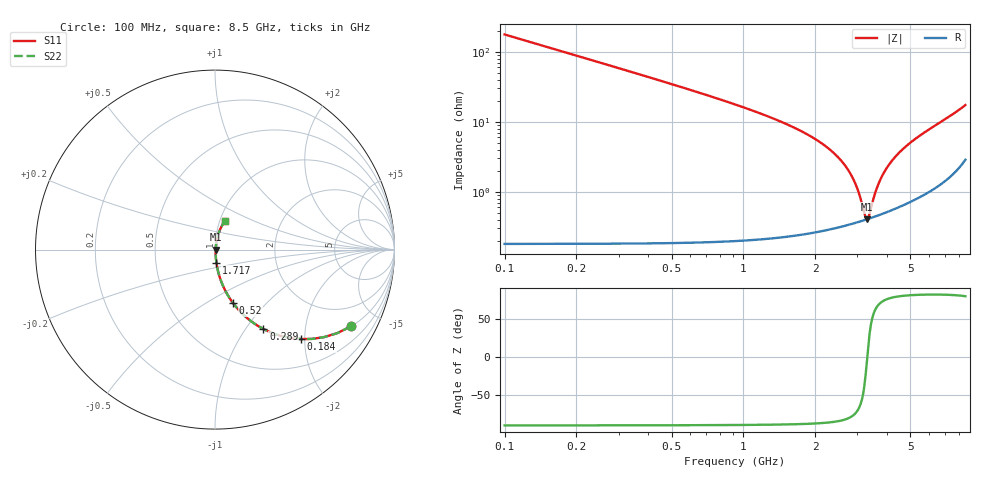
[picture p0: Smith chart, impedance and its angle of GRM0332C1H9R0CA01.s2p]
!Murata Part Number: GRM0332C1H9R0CA01
!These Parameters are Measured in Series Mode Connection
!Data Generated on Mar 30, 2021
!  o--ll--o
!Port1  Port2
!  o------o
!Operation Temp=25[degC], DC Bias Voltage=0[V]
!Freq. Start=100[MHz] Stop=9[GHz] 401[Steps]
# Hz S RI R 50
!Freq.(Hz) S11(Real) S11(Imag) S21(Real) S21(Imag) S12(Real) S12(Imag) S22(Real) S22(Imag)
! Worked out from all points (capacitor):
!   401 points, 100 MHz to 8.5 GHz, reference 50 ohm
!   read as one part in series: C = 9 pF near 142 MHz
!   lowest |Z| = 406 mohm at 3.292 GHz (marker M1)
!   series resonance near 3.299 GHz, so ESL is about 260 pH
!   S11 on the Smith chart (normalised r, x): 100 MHz: 1.00, -3.53; 184 MHz: 1.00, -1.92; 289 MHz: 1.00, -1.21; 520 MHz: 1.00, -0.66; 1.717 GHz: 1.00, -0.15; 8.5 GHz: 1.06, +0.34
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1e8  0.7572 -0.4283  0.2428 0.4283  0.2428 0.4283  0.7572 -0.4283
1.84e8  0.4787 -0.4986  0.5213 0.4986  0.5213 0.4986  0.4787 -0.4986
2.89e8  0.2701 -0.4425  0.7299 0.4425  0.7299 0.4425  0.2701 -0.4425
3.94e8  0.1648 -0.369  0.8352 0.369  0.8352 0.369  0.1648 -0.369
5.2e8  0.1005 -0.2979  0.8995 0.2979  0.8995 0.2979  0.1005 -0.2979
8.98e8  0.0341 -0.1761  0.9659 0.1761  0.9659 0.1761  0.0341 -0.1761
1.507e9  0.0109 -0.0922  0.9891 0.0922  0.9891 0.0922  0.0109 -0.0922
1.717e9  0.00806 -0.0749  0.9919 0.0749  0.9919 0.0749  0.00806 -0.0749
2.473e9  0.00406 -0.0316  0.9959 0.0316  0.9959 0.0316  0.00406 -0.0316
2.914e9  0.00373 -0.0136  0.9963 0.0136  0.9963 0.0136  0.00373 -0.0136
3.061e9  0.0038 -0.00818  0.9962 0.00818  0.9962 0.00818  0.0038 -0.00818
3.229e9  0.00396 -0.00234  0.996 0.00234  0.996 0.00234  0.00396 -0.00234
3.292e9  0.00404 -0.000226  0.996 0.000226  0.996 0.000226  0.00404 -0.000226
3.355e9  0.00413 0.00186  0.9959 -0.00186  0.9959 -0.00186  0.00413 0.00186
3.544e9  0.00446 0.00791  0.9955 -0.00791  0.9955 -0.00791  0.00446 0.00791
3.733e9  0.00487 0.0137  0.9951 -0.0137  0.9951 -0.0137  0.00487 0.0137
3.985e9  0.00554 0.0212  0.9945 -0.0212  0.9945 -0.0212  0.00554 0.0212
4.3e9  0.00656 0.0301  0.9934 -0.0301  0.9934 -0.0301  0.00656 0.0301
4.888e9  0.00899 0.046  0.991 -0.046  0.991 -0.046  0.00899 0.046
5.707e9  0.0136 0.0678  0.9864 -0.0678  0.9864 -0.0678  0.0136 0.0678
7.114e9  0.0266 0.1077  0.9734 -0.1077  0.9734 -0.1077  0.0266 0.1077
8.5e9  0.0541 0.1573  0.9459 -0.1573  0.9459 -0.1573  0.0541 0.1573
